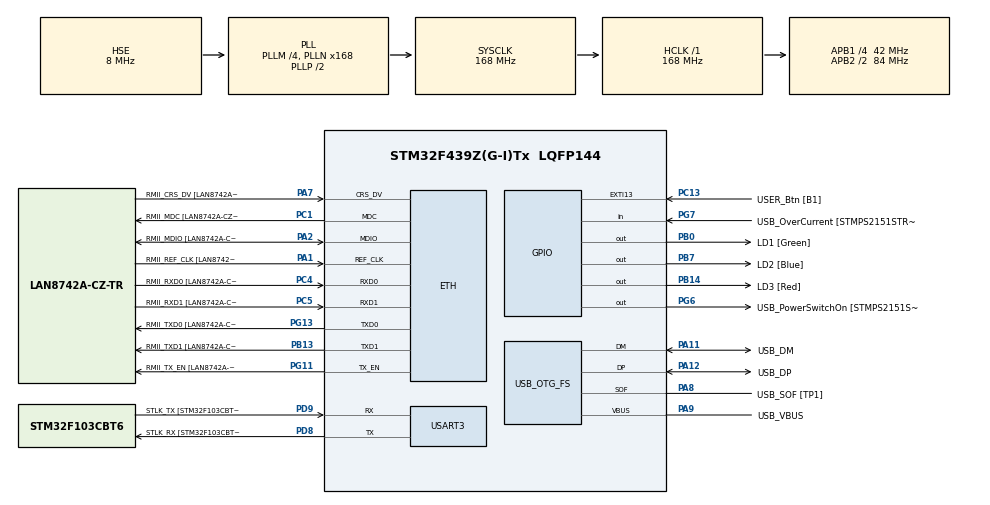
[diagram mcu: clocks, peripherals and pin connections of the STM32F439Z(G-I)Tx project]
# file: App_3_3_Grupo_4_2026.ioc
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ETH.MediaInterface=HAL_ETH_RMII_MODE
ETH.PHY_Name=LAN8742A_PHY_ADDRESS
ETH.PHY_Value=0
ETH.PhyAddress=0
Mcu.Family=STM32F4
Mcu.Name=STM32F439Z(G-I)Tx
Mcu.Package=LQFP144
NVIC.PriorityGroup=NVIC_PRIORITYGROUP_4
PA1.GPIO_Label=RMII_REF_CLK [LAN8742A-CZ-TR_REFCLK0]
PA1.Mode=RMII
PA1.Signal=ETH_REF_CLK
PA10.GPIO_Label=USB_ID
PA10.Signal=USB_OTG_FS_ID
PA11.GPIO_Label=USB_DM
PA11.Mode=Device_Only
PA11.Signal=USB_OTG_FS_DM
PA12.GPIO_Label=USB_DP
PA12.Mode=Device_Only
PA12.Signal=USB_OTG_FS_DP
PA13.GPIO_Label=TMS
PA13.Mode=Serial_Wire
PA13.Signal=SYS_JTMS-SWDIO
PA14.GPIO_Label=TCK
PA14.Mode=Serial_Wire
PA14.Signal=SYS_JTCK-SWCLK
PA2.GPIO_Label=RMII_MDIO [LAN8742A-CZ-TR_MDIO]
PA2.Mode=RMII
PA2.Signal=ETH_MDIO
PA7.GPIO_Label=RMII_CRS_DV [LAN8742A-CZ-TR_CRS_DV]
PA7.Mode=RMII
PA7.Signal=ETH_CRS_DV
PA8.GPIO_Label=USB_SOF [TP1]
PA8.Mode=Activate_SOF_FS
PA8.Signal=USB_OTG_FS_SOF
PA9.GPIO_Label=USB_VBUS
PA9.Mode=Activate_VBUS
PA9.Signal=USB_OTG_FS_VBUS
PB0.GPIO_Label=LD1 [Green]
PB0.Signal=GPIO_Output
PB13.GPIO_Label=RMII_TXD1 [LAN8742A-CZ-TR_TXD1]
PB13.Mode=RMII
PB13.Signal=ETH_TXD1
PB14.GPIO_Label=LD3 [Red]
PB14.Signal=GPIO_Output
PB7.GPIO_Label=LD2 [Blue]
PB7.Signal=GPIO_Output
PC1.GPIO_Label=RMII_MDC [LAN8742A-CZ-TR_MDC]
PC1.Mode=RMII
PC1.Signal=ETH_MDC
PC13.GPIO_Label=USER_Btn [B1]
PC13.Signal=GPXTI13
PC14/OSC32_IN.Mode=LSE-External-Oscillator
PC14/OSC32_IN.Signal=RCC_OSC32_IN
PC15/OSC32_OUT.Mode=LSE-External-Oscillator
PC15/OSC32_OUT.Signal=RCC_OSC32_OUT
PC4.GPIO_Label=RMII_RXD0 [LAN8742A-CZ-TR_RXD0]
PC4.Mode=RMII
PC4.Signal=ETH_RXD0
PC5.GPIO_Label=RMII_RXD1 [LAN8742A-CZ-TR_RXD1]
PC5.Mode=RMII
PC5.Signal=ETH_RXD1
PD8.GPIO_Label=STLK_RX [STM32F103CBT6_PA3]
PD8.Mode=Asynchronous
PD8.Signal=USART3_TX
PD9.GPIO_Label=STLK_TX [STM32F103CBT6_PA2]
PD9.Mode=Asynchronous
PD9.Signal=USART3_RX
PG11.GPIO_Label=RMII_TX_EN [LAN8742A-CZ-TR_TXEN]
PG11.Mode=RMII
PG11.Signal=ETH_TX_EN
PG13.GPIO_Label=RMII_TXD0 [LAN8742A-CZ-TR_TXD0]
PG13.Mode=RMII
PG13.Signal=ETH_TXD0
PG6.GPIO_Label=USB_PowerSwitchOn [STMPS2151STR_EN]
PG6.Signal=GPIO_Output
PG7.GPIO_Label=USB_OverCurrent [STMPS2151STR_FAULT]
PG7.Signal=GPIO_Input
PH0/OSC_IN.GPIO_Label=MCO [STM32F103CBT6_PA8]
PH0/OSC_IN.Mode=HSE-External-Clock-Source
PH0/OSC_IN.Signal=RCC_OSC_IN
PH1/OSC_OUT.Mode=HSE-External-Clock-Source
PH1/OSC_OUT.Signal=RCC_OSC_OUT
ProjectManager.HeapSize=0x200
ProjectManager.StackSize=0x400
ProjectManager.TargetToolchain=STM32CubeIDE
RCC.48MHZClocksFreq_Value=48000000
RCC.AHBFreq_Value=168000000
RCC.APB1CLKDivider=RCC_HCLK_DIV4
RCC.APB1Freq_Value=42000000
RCC.APB1TimFreq_Value=84000000
RCC.APB2CLKDivider=RCC_HCLK_DIV2
RCC.APB2Freq_Value=84000000
RCC.APB2TimCLKDivider=2
RCC.APB2TimFreq_Value=168000000
RCC.CortexFreq_Value=168000000
RCC.HCLKFreq_Value=168000000
RCC.HSE_VALUE=8000000
RCC.HSI_VALUE=16000000
RCC.PLLM=4
RCC.PLLMUL=RCC_PLL_MUL9
RCC.PLLN=168
RCC.PLLQ=7
RCC.PRESCALERUSB=RCC_USBCLKSOURCE_PLL_DIV1_5
RCC.SYSCLKFreq_VALUE=168000000
RCC.SYSCLKSource=RCC_SYSCLKSOURCE_PLLCLK
RCC.SYSCLKSourceVirtual=RCC_SYSCLKSOURCE_PLLCLK
RCC.USBFreq_Value=48000000
RCC.VCOOutputFreq_Value=336000000
USART3.VirtualMode=VM_ASYNC
USB_OTG_FS.VirtualMode=Device_Only
board=NUCLEO-F439ZI

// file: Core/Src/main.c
/* USER CODE BEGIN Header */
/**
  ******************************************************************************
  * @file           : main.c
  * @brief          : Main program body
  ******************************************************************************
  * @attention
  *
  * Copyright (c) 2026 STMicroelectronics.
  * All rights reserved.
  *
  * This software is licensed under terms that can be found in the LICENSE file
  * in the root directory of this software component.
  * If no LICENSE file comes with this software, it is provided AS-IS.
  *
  ******************************************************************************
  */
/* USER CODE END Header */
#include "main.h"
#include "string.h"
#include "API_GPIO.h"
#include "API_Delay.h"

/* USER CODE BEGIN PD */
#define LED1 LD1_Pin //led green
#define LED2 LD2_Pin //led blue
#define LED3 LD3_Pin // led red

/* USER CODE END PD */

ETH_TxPacketConfig TxConfig;
ETH_DMADescTypeDef  DMARxDscrTab[ETH_RX_DESC_CNT]; /* Ethernet Rx DMA Descriptors */
ETH_DMADescTypeDef  DMATxDscrTab[ETH_TX_DESC_CNT]; /* Ethernet Tx DMA Descriptors */

ETH_HandleTypeDef heth;

UART_HandleTypeDef huart3;

PCD_HandleTypeDef hpcd_USB_OTG_FS;

/* USER CODE BEGIN PV */
delay_t delay_debounce;
delay_t delay_secuencia;
int paso = 0;
int boton_previo = 0;
/* USER CODE END PV */

void SystemClock_Config(void);
//static void MX_GPIO_Init(void); SE ELIMINA PARA INICIALIZAR EN DRIVER
static void MX_ETH_Init(void);
static void MX_USART3_UART_Init(void);
static void MX_USB_OTG_FS_PCD_Init(void);

int main(void)
{

  /* USER CODE BEGIN 1 */
  delayInit(&delay_debounce, 30);
  delayInit(&delay_secuencia, 150);

  /* USER CODE END 1 */

  /* MCU Configuration--------------------------------------------------------*/

  /* Reset of all peripherals, Initializes the Flash interface and the Systick. */
  HAL_Init();

  /* USER CODE BEGIN Init */
 uint16_t LEDS[3] = {LED1,LED2,LED3}; // SE CREA EL VECTOR CON LOS LEDS
 uint8_t secuencia = 0;
  /* USER CODE END Init */

  /* Configure the system clock */
  SystemClock_Config();

  /* Initialize all configured peripherals */
  MX_GPIO_Init();
  MX_ETH_Init();
  MX_USART3_UART_Init();
  MX_USB_OTG_FS_PCD_Init();

  /* Infinite loop */
    while (1)
    {

      /* USER CODE BEGIN 3 */

      if(readButton_GPIO() == 1) {

          if(boton_previo == 0) {

              if(delayRead(&delay_debounce) == true) { // Reemplaza HAL_Delay(30)
                  secuencia++;
                  if (secuencia > 3) {
                      secuencia = 0;
                  }

                  writeLedOff_GPIO(LEDS[0]);
                  writeLedOff_GPIO(LEDS[1]);
                  writeLedOff_GPIO(LEDS[2]);

                  boton_previo = 1; // Reemplaza while(readButton_GPIO() == 1){}
                  paso = 0;         // Reseteamos las luces al cambiar de secuencia
              }
          }
      } else {
          boton_previo = 0;
          delayInit(&delay_debounce, 30);
      }

      //  SECUENCIAS

      if(delayRead(&delay_secuencia) == true) {

          //SECUENCIA 1:
          if (secuencia == 0) {
              delayWrite(&delay_secuencia, 150);

              if(paso == 0)      { writeLedOn_GPIO(LEDS[0]); }
              else if(paso == 1) { writeLedOff_GPIO(LEDS[0]); }
              else if(paso == 2) { writeLedOn_GPIO(LEDS[1]); }
              else if(paso == 3) { writeLedOff_GPIO(LEDS[1]); }
              else if(paso == 4) { writeLedOn_GPIO(LEDS[2]); }
              else if(paso == 5) { writeLedOff_GPIO(LEDS[2]); paso = -1; }
              paso++;
          }

          //SECUENCIA 2:
          else if (secuencia == 1) {
              delayWrite(&delay_secuencia, 300);

              if(paso == 0) {
                  writeLedOn_GPIO(LEDS[0]); writeLedOn_GPIO(LEDS[1]); writeLedOn_GPIO(LEDS[2]);
              }
              else if(paso == 1) {
                  writeLedOff_GPIO(LEDS[0]); writeLedOff_GPIO(LEDS[1]); writeLedOff_GPIO(LEDS[2]);
                  paso = -1;
              }
              paso++;
          }

          //SECUENCIA 3:
          else if (secuencia == 2) {
              delayWrite(&delay_secuencia, 100);

              if(paso == 0)      { toggleLed_GPIO(LEDS[0]); toggleLed_GPIO(LEDS[1]); toggleLed_GPIO(LEDS[2]); }
              else if(paso == 1) { toggleLed_GPIO(LEDS[0]); }
              else if(paso == 2) { toggleLed_GPIO(LEDS[0]); }
              else if(paso == 3) { toggleLed_GPIO(LEDS[0]); toggleLed_GPIO(LEDS[1]); }
              else if(paso == 4) { toggleLed_GPIO(LEDS[0]); }
              else if(paso == 5) { toggleLed_GPIO(LEDS[0]); paso = -1; }
              paso++;
          }

          //SECUENCIA 4:
          else if (secuencia == 3) {
              delayWrite(&delay_secuencia, 150);

              if(paso == 0) {
                  writeLedOn_GPIO(LEDS[0]); writeLedOn_GPIO(LEDS[2]); writeLedOff_GPIO(LEDS[1]);
              }
              else if(paso == 1) {
                  writeLedOff_GPIO(LEDS[0]); writeLedOff_GPIO(LEDS[2]); writeLedOn_GPIO(LEDS[1]);
                  paso = -1;
              }
              paso++;
          }
      }

    }
    /* USER CODE END 3 */
}
  /* USER CODE END 3 */

void SystemClock_Config(void)
{
  RCC_OscInitTypeDef RCC_OscInitStruct = {0};
  RCC_ClkInitTypeDef RCC_ClkInitStruct = {0};

  /** Configure the main internal regulator output voltage
  */
  __HAL_RCC_PWR_CLK_ENABLE();
  __HAL_PWR_VOLTAGESCALING_CONFIG(PWR_REGULATOR_VOLTAGE_SCALE1);

  /** Initializes the RCC Oscillators according to the specified parameters
  * in the RCC_OscInitTypeDef structure.
  */
  RCC_OscInitStruct.OscillatorType = RCC_OSCILLATORTYPE_HSE;
  RCC_OscInitStruct.HSEState = RCC_HSE_BYPASS;
  RCC_OscInitStruct.PLL.PLLState = RCC_PLL_ON;
  RCC_OscInitStruct.PLL.PLLSource = RCC_PLLSOURCE_HSE;
  RCC_OscInitStruct.PLL.PLLM = 4;
  RCC_OscInitStruct.PLL.PLLN = 168;
  RCC_OscInitStruct.PLL.PLLP = RCC_PLLP_DIV2;
  RCC_OscInitStruct.PLL.PLLQ = 7;
  if (HAL_RCC_OscConfig(&RCC_OscInitStruct) != HAL_OK)
  {
    Error_Handler();
  }

  /** Initializes the CPU, AHB and APB buses clocks
  */
  RCC_ClkInitStruct.ClockType = RCC_CLOCKTYPE_HCLK|RCC_CLOCKTYPE_SYSCLK
                              |RCC_CLOCKTYPE_PCLK1|RCC_CLOCKTYPE_PCLK2;
  RCC_ClkInitStruct.SYSCLKSource = RCC_SYSCLKSOURCE_PLLCLK;
  RCC_ClkInitStruct.AHBCLKDivider = RCC_SYSCLK_DIV1;
  RCC_ClkInitStruct.APB1CLKDivider = RCC_HCLK_DIV4;
  RCC_ClkInitStruct.APB2CLKDivider = RCC_HCLK_DIV2;

  if (HAL_RCC_ClockConfig(&RCC_ClkInitStruct, FLASH_LATENCY_5) != HAL_OK)
  {
    Error_Handler();
  }
}

static void MX_ETH_Init(void)
{

   static uint8_t MACAddr[6];

  heth.Instance = ETH;
  MACAddr[0] = 0x00;
  MACAddr[1] = 0x80;
  MACAddr[2] = 0xE1;
  MACAddr[3] = 0x00;
  MACAddr[4] = 0x00;
  MACAddr[5] = 0x00;
  heth.Init.MACAddr = &MACAddr[0];
  heth.Init.MediaInterface = HAL_ETH_RMII_MODE;
  heth.Init.TxDesc = DMATxDscrTab;
  heth.Init.RxDesc = DMARxDscrTab;
  heth.Init.RxBuffLen = 1524;

  if (HAL_ETH_Init(&heth) != HAL_OK)
  {
    Error_Handler();
  }

  memset(&TxConfig, 0 , sizeof(ETH_TxPacketConfig));
  TxConfig.Attributes = ETH_TX_PACKETS_FEATURES_CSUM | ETH_TX_PACKETS_FEATURES_CRCPAD;
  TxConfig.ChecksumCtrl = ETH_CHECKSUM_IPHDR_PAYLOAD_INSERT_PHDR_CALC;
  TxConfig.CRCPadCtrl = ETH_CRC_PAD_INSERT;

}

static void MX_USART3_UART_Init(void)
{

  huart3.Instance = USART3;
  huart3.Init.BaudRate = 115200;
  huart3.Init.WordLength = UART_WORDLENGTH_8B;
  huart3.Init.StopBits = UART_STOPBITS_1;
  huart3.Init.Parity = UART_PARITY_NONE;
  huart3.Init.Mode = UART_MODE_TX_RX;
  huart3.Init.HwFlowCtl = UART_HWCONTROL_NONE;
  huart3.Init.OverSampling = UART_OVERSAMPLING_16;
  if (HAL_UART_Init(&huart3) != HAL_OK)
  {
    Error_Handler();
  }

}

static void MX_USB_OTG_FS_PCD_Init(void)
{

  hpcd_USB_OTG_FS.Instance = USB_OTG_FS;
  hpcd_USB_OTG_FS.Init.dev_endpoints = 4;
  hpcd_USB_OTG_FS.Init.speed = PCD_SPEED_FULL;
  hpcd_USB_OTG_FS.Init.dma_enable = DISABLE;
  hpcd_USB_OTG_FS.Init.phy_itface = PCD_PHY_EMBEDDED;
  hpcd_USB_OTG_FS.Init.Sof_enable = ENABLE;
  hpcd_USB_OTG_FS.Init.low_power_enable = DISABLE;
  hpcd_USB_OTG_FS.Init.lpm_enable = DISABLE;
  hpcd_USB_OTG_FS.Init.vbus_sensing_enable = ENABLE;
  hpcd_USB_OTG_FS.Init.use_dedicated_ep1 = DISABLE;
  if (HAL_PCD_Init(&hpcd_USB_OTG_FS) != HAL_OK)
  {
    Error_Handler();
  }

}

void Error_Handler(void)
{
  __disable_irq();
  while (1)
  {
  }
}
